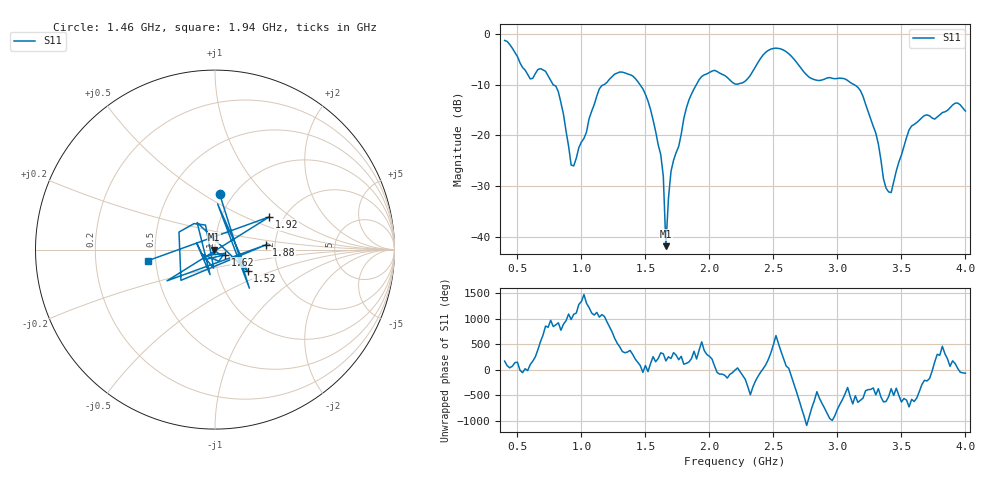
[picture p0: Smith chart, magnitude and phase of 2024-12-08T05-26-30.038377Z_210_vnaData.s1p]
!Created with skrf (http://scikit-rf.org).
# Hz S RI R 50.0
!freq ReS11 ImS11
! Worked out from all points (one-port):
!   181 points, 400 MHz to 4 GHz, reference 50 ohm
!   lowest |S11| = -41.8 dB at 1.66 GHz (marker M1), VSWR 1.02, Z = 49.2 + j0.0454 ohm
!   |S11| at or under -10 dB: 778.7 MHz to 1.176 GHz (397.4 MHz wide, 40.7 % of centre); 1.457 GHz to 1.898 GHz (441.2 MHz wide, 26.3 % of centre); 3.13 GHz to end of sweep
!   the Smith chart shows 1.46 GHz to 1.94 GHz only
!   S11 on the Smith chart (normalised r, x): 1.46 GHz: 0.86, +0.60; 1.52 GHz: 1.39, -0.35; 1.62 GHz: 1.12, -0.06; 1.88 GHz: 1.80, +0.11; 1.92 GHz: 1.69, +0.70; 1.94 GHz: 0.45, -0.07
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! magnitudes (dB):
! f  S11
! 400 MHz  -1.3
! 600 MHz  -8.9
! 720 MHz  -7.4
! 860 MHz  -15.8
! 920 MHz  -25.8
! 940 MHz  -26.0
! 1.14 GHz  -10.8
! 1.3 GHz  -7.5
! 1.46 GHz  -10.1
! 1.52 GHz  -13.2
! 1.62 GHz  -23.8
! 1.64 GHz  -28.1
! 1.66 GHz  -41.8
! 1.7 GHz  -27.1
! 1.76 GHz  -22.2
! 1.88 GHz  -10.8
! 1.92 GHz  -9.0
! 1.94 GHz  -8.4
! 2.2 GHz  -9.9
! 2.48 GHz  -3.0
! 2.66 GHz  -5.0
! 2.8 GHz  -8.8
! 3.1 GHz  -9.6
! 3.2 GHz  -12.3
! 3.4 GHz  -31.1
! 3.56 GHz  -18.9
! 3.92 GHz  -13.6
! 4 GHz  -15.2
